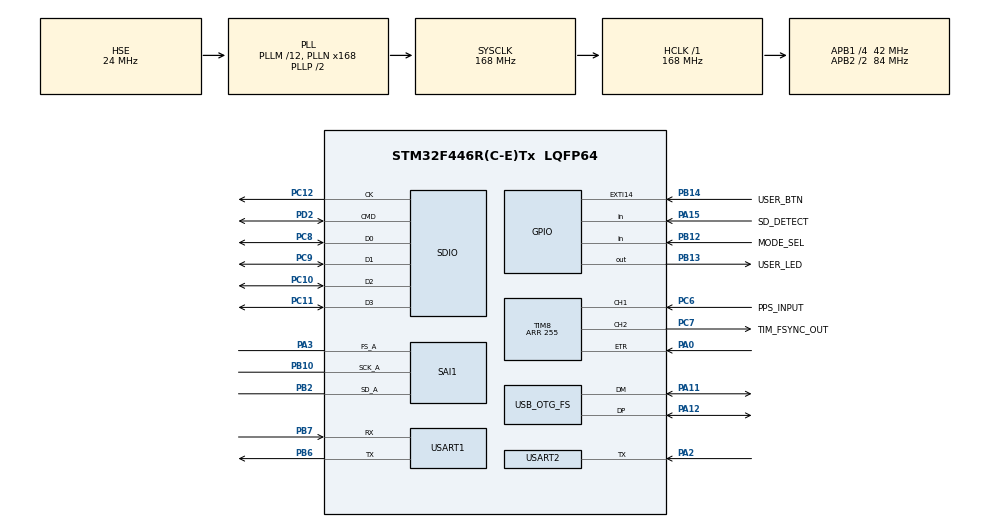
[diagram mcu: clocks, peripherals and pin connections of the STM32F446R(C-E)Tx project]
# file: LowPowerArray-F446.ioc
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Dma.Request0=SDIO
Dma.Request1=SAI1_A
Dma.Request2=USART2_RX
Dma.SAI1_A.1.Direction=DMA_PERIPH_TO_MEMORY
Dma.SAI1_A.1.FIFOMode=DMA_FIFOMODE_ENABLE
Dma.SAI1_A.1.FIFOThreshold=DMA_FIFO_THRESHOLD_FULL
Dma.SAI1_A.1.Instance=DMA2_Stream1
Dma.SAI1_A.1.MemBurst=DMA_MBURST_SINGLE
Dma.SAI1_A.1.MemDataAlignment=DMA_MDATAALIGN_WORD
Dma.SAI1_A.1.MemInc=DMA_MINC_ENABLE
Dma.SAI1_A.1.Mode=DMA_NORMAL
Dma.SAI1_A.1.PeriphBurst=DMA_PBURST_SINGLE
Dma.SAI1_A.1.PeriphDataAlignment=DMA_PDATAALIGN_WORD
Dma.SAI1_A.1.PeriphInc=DMA_PINC_DISABLE
Dma.SAI1_A.1.Priority=DMA_PRIORITY_VERY_HIGH
Dma.SDIO.0.Direction=DMA_PERIPH_TO_MEMORY
Dma.SDIO.0.FIFOMode=DMA_FIFOMODE_ENABLE
Dma.SDIO.0.FIFOThreshold=DMA_FIFO_THRESHOLD_FULL
Dma.SDIO.0.Instance=DMA2_Stream3
Dma.SDIO.0.MemBurst=DMA_MBURST_SINGLE
Dma.SDIO.0.MemDataAlignment=DMA_MDATAALIGN_WORD
Dma.SDIO.0.MemInc=DMA_MINC_ENABLE
Dma.SDIO.0.Mode=DMA_PFCTRL
Dma.SDIO.0.PeriphBurst=DMA_PBURST_INC4
Dma.SDIO.0.PeriphDataAlignment=DMA_PDATAALIGN_WORD
Dma.SDIO.0.PeriphInc=DMA_PINC_DISABLE
Dma.SDIO.0.Priority=DMA_PRIORITY_VERY_HIGH
Dma.USART2_RX.2.Direction=DMA_PERIPH_TO_MEMORY
Dma.USART2_RX.2.FIFOMode=DMA_FIFOMODE_DISABLE
Dma.USART2_RX.2.Instance=DMA1_Stream5
Dma.USART2_RX.2.MemDataAlignment=DMA_MDATAALIGN_BYTE
Dma.USART2_RX.2.MemInc=DMA_MINC_ENABLE
Dma.USART2_RX.2.Mode=DMA_NORMAL
Dma.USART2_RX.2.PeriphDataAlignment=DMA_PDATAALIGN_BYTE
Dma.USART2_RX.2.PeriphInc=DMA_PINC_DISABLE
Dma.USART2_RX.2.Priority=DMA_PRIORITY_LOW
FATFS.BSP.number=1
FATFS.USE_DMA_CODE_SD=1
FATFS._FS_EXFAT=1
FATFS._MAX_SS=4096
FATFS._USE_EXPAND=1
FATFS._USE_FIND=1
FATFS._USE_LFN=2
FATFS0.BSP.STBoard=false
FATFS0.BSP.api=Unknown
FATFS0.BSP.instance=PA15
FATFS0.BSP.ip=GPIO
FATFS0.BSP.mode=Input
FATFS0.BSP.name=Detect_SDIO
FATFS0.BSP.solution=PA15
Mcu.Family=STM32F4
Mcu.Name=STM32F446R(C-E)Tx
Mcu.Package=LQFP64
NVIC.DMA1_Stream5_IRQn=true\:3\:0\:true\:false\:true\:false\:true\:true
NVIC.DMA2_Stream1_IRQn=true\:0\:0\:true\:false\:true\:false\:true\:true
NVIC.DMA2_Stream3_IRQn=true\:1\:0\:true\:false\:true\:false\:true\:true
NVIC.EXTI15_10_IRQn=true\:7\:0\:true\:false\:true\:true\:true\:true
NVIC.OTG_FS_IRQn=true\:2\:0\:true\:false\:true\:false\:true\:true
NVIC.PriorityGroup=NVIC_PRIORITYGROUP_4
NVIC.SAI1_IRQn=true\:0\:0\:false\:false\:true\:true\:true\:true
NVIC.SDIO_IRQn=true\:1\:0\:true\:false\:true\:true\:true\:true
NVIC.USART2_IRQn=true\:4\:0\:true\:false\:true\:true\:true\:true
PA0-WKUP.Signal=S_TIM8_ETR
PA11.Mode=Device_Only
PA11.Signal=USB_OTG_FS_DM
PA12.Mode=Device_Only
PA12.Signal=USB_OTG_FS_DP
PA13.Mode=Serial_Wire
PA13.Signal=SYS_JTMS-SWDIO
PA14.Mode=Serial_Wire
PA14.Signal=SYS_JTCK-SWCLK
PA15.GPIO_Label=SD_DETECT
PA15.GPIO_PuPd=GPIO_PULLUP
PA15.Signal=GPIO_Input
PA2.Mode=Half_duplex(single_wire_mode)
PA2.Signal=USART2_TX
PA3.Mode=SAI_A_AsyncSlave
PA3.Signal=SAI1_FS_A
PB10.Mode=SAI_A_AsyncSlave
PB10.Signal=SAI1_SCK_A
PB12.GPIO_Label=MODE_SEL
PB12.GPIO_PuPd=GPIO_PULLUP
PB12.Signal=GPIO_Input
PB13.GPIO_Label=USER_LED
PB13.GPIO_ModeDefaultOutputPP=GPIO_MODE_OUTPUT_OD
PB13.GPIO_PuPd=GPIO_NOPULL
PB13.PinState=GPIO_PIN_RESET
PB13.Signal=GPIO_Output
PB14.GPIO_Label=USER_BTN
PB14.GPIO_PuPd=GPIO_PULLDOWN
PB14.Signal=GPXTI14
PB2.GPIO_PuPd=GPIO_NOPULL
PB2.Mode=SAI_A_AsyncSlave
PB2.Signal=SAI1_SD_A
PB6.Mode=Asynchronous
PB6.Signal=USART1_TX
PB7.Mode=Asynchronous
PB7.Signal=USART1_RX
PC10.GPIO_PuPd=GPIO_PULLUP
PC10.Mode=SD_4_bits_Wide_bus
PC10.Signal=SDIO_D2
PC11.GPIO_PuPd=GPIO_PULLUP
PC11.Mode=SD_4_bits_Wide_bus
PC11.Signal=SDIO_D3
PC12.Mode=SD_4_bits_Wide_bus
PC12.Signal=SDIO_CK
PC6.GPIO_Label=PPS_INPUT
PC6.GPIO_ModeDefaultEXTI=GPIO_MODE_IT_FALLING
PC6.Signal=S_TIM8_CH1
PC7.GPIO_Label=TIM_FSYNC_OUT
PC7.GPIO_Speed=GPIO_SPEED_FREQ_VERY_HIGH
PC7.Signal=S_TIM8_CH2
PC8.GPIO_PuPd=GPIO_PULLUP
PC8.Mode=SD_4_bits_Wide_bus
PC8.Signal=SDIO_D0
PC9.GPIO_PuPd=GPIO_PULLUP
PC9.Mode=SD_4_bits_Wide_bus
PC9.Signal=SDIO_D1
PD2.Mode=SD_4_bits_Wide_bus
PD2.Signal=SDIO_CMD
PH0-OSC_IN.Mode=HSE-External-Clock-Source
PH0-OSC_IN.Signal=RCC_OSC_IN
PH1-OSC_OUT.Mode=HSE-External-Clock-Source
PH1-OSC_OUT.Signal=RCC_OSC_OUT
ProjectManager.HeapSize=0x200
ProjectManager.StackSize=0x400
ProjectManager.TargetToolchain=STM32CubeIDE
RCC.AHBFreq_Value=168000000
RCC.APB1CLKDivider=RCC_HCLK_DIV4
RCC.APB1Freq_Value=42000000
RCC.APB1TimFreq_Value=84000000
RCC.APB2CLKDivider=RCC_HCLK_DIV2
RCC.APB2Freq_Value=84000000
RCC.APB2TimFreq_Value=168000000
RCC.CortexFreq_Value=168000000
RCC.DATA_CACHE_ENABLE=1
RCC.HCLKFreq_Value=168000000
RCC.HSE_VALUE=24000000
RCC.PLLI2SM=12
RCC.PLLI2SN=50
RCC.PLLM=12
RCC.PLLN=168
RCC.PLLQ=7
RCC.PLLSAIM=12
RCC.PLLSAIN=50
RCC.PLLSourceVirtual=RCC_PLLSOURCE_HSE
RCC.SAIACLockSelection=RCC_SAI1CLKSOURCE_PLLR
RCC.SYSCLKFreq_VALUE=168000000
RCC.SYSCLKSource=RCC_SYSCLKSOURCE_PLLCLK
RCC.USBFreq_Value=48000000
RCC.VCOOutputFreq_Value=336000000
SAI1.ActiveFrameLength-SAI_A_AsyncSlave=31
SAI1.ClockStrobing-SAI_A_AsyncSlave=SAI_CLOCKSTROBING_FALLINGEDGE
SAI1.CompandingMode-SAI_A_AsyncSlave=SAI_NOCOMPANDING
SAI1.DataSize-SAI_A_AsyncSlave=SAI_DATASIZE_32
SAI1.FIFOThreshold-SAI_A_AsyncSlave=SAI_FIFOTHRESHOLD_FULL
SAI1.FSDefinition-SAI_A_AsyncSlave=SAI_FS_STARTFRAME
SAI1.FSOffset-SAI_A_AsyncSlave=SAI_FS_FIRSTBIT
SAI1.FSPolarity-SAI_A_AsyncSlave=SAI_FS_ACTIVE_HIGH
SAI1.FirstBitOffset-SAI_A_AsyncSlave=0
SAI1.FrameLength-SAI_A_AsyncSlave=256
SAI1.Instance-SAI_A_AsyncSlave=SAI$Index_Block_A
SAI1.SlotActive-SAI_A_AsyncSlave=0x0000FFFF
SAI1.SlotNumber-SAI_A_AsyncSlave=8
SAI1.SlotSize-SAI_A_AsyncSlave=SAI_SLOTSIZE_32B
SAI1.TriState-SAI_A_AsyncSlave=SAI_OUTPUT_NOTRELEASED
SAI1.VirtualMode-SAI_A_AsyncSlave=VM_SLAVE
SAI1.VirtualSlotActive-SAI_A_AsyncSlave=SAI_SLOTACTIVE_ALL
SH.S_TIM8_CH1.0=TIM8_CH1,TriggerSource_TI1ED
SH.S_TIM8_CH2.0=TIM8_CH2,PWM Generation2 CH2
SH.S_TIM8_ETR.0=TIM8_ETR,ClockSourceETR_Mode2
TIM8.AutoReloadPreload=TIM_AUTORELOAD_PRELOAD_ENABLE
TIM8.Channel-PWM\ Generation2\ CH2=TIM_CHANNEL_2
TIM8.OC2Preload_PWM=DISABLE
TIM8.OCFastMode_PWM-PWM\ Generation2\ CH2=TIM_OCFAST_DISABLE
TIM8.OCIdleState_2=TIM_OCIDLESTATE_RESET
TIM8.Period=255
TIM8.Pulse-PWM\ Generation2\ CH2=31
USART1.VirtualMode=VM_ASYNC
USART2.BaudRate=38400
USART2.Mode=MODE_RX
USART2.VirtualMode=VM_ASYNC
USB_DEVICE.CLASS_NAME_FS=CDC
USB_DEVICE.VirtualMode-CDC_FS=Cdc
USB_DEVICE.VirtualModeFS=Cdc_FS
USB_OTG_FS.VirtualMode=Device_Only
VP_FATFS_VS_SDIO.Mode=SDIO
VP_TIM8_VS_ControllerModeTrigger.Mode=Trigger Mode
VP_USB_DEVICE_VS_USB_DEVICE_CDC_FS.Mode=CDC_FS
board=custom

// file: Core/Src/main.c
/* USER CODE BEGIN Header */
/**
 ******************************************************************************
 * @file           : main.c
 * @brief          : Main program body
 ******************************************************************************
 * @attention
 *
 * Copyright (c) 2023 STMicroelectronics.
 * All rights reserved.
 *
 * This software is licensed under terms that can be found in the LICENSE file
 * in the root directory of this software component.
 * If no LICENSE file comes with this software, it is provided AS-IS.
 *
 ******************************************************************************
 */
/* USER CODE END Header */
#include "main.h"
#include "fatfs.h"
#include "usb_device.h"

/* USER CODE BEGIN Includes */

#include <stdio.h>
#include <string.h>

#include "usbd_cdc_if.h"

#include "user_app.h"

/* USER CODE END Includes */

SAI_HandleTypeDef hsai_BlockA1;
DMA_HandleTypeDef hdma_sai1_a;

SD_HandleTypeDef hsd;
DMA_HandleTypeDef hdma_sdio;

TIM_HandleTypeDef htim8;

UART_HandleTypeDef huart1;
UART_HandleTypeDef huart2;
DMA_HandleTypeDef hdma_usart2_rx;

void SystemClock_Config(void);
static void MX_GPIO_Init(void);
static void MX_DMA_Init(void);
static void MX_USART1_UART_Init(void);
static void MX_USART2_UART_Init(void);
static void MX_TIM8_Init(void);
static void MX_SDIO_SD_Init(void);
static void MX_SAI1_Init(void);
/* USER CODE BEGIN PFP */
static void PPS_Interrupt_Init(void);

#ifdef __GNUC__
#define PUTCHAR_PROTOTYPE int __io_putchar(int ch)
#else
#define PUTCHAR_PROTOTYPE int fputc(int ch, FILE *f)
#endif

PUTCHAR_PROTOTYPE
{
	HAL_UART_Transmit(&huart1, (uint8_t *)&ch, 1, HAL_MAX_DELAY);
	CDC_Transmit_FS((uint8_t *)&ch, 1);
	return ch;
}

/* USER CODE END PFP */

int main(void)
{

  /* MCU Configuration--------------------------------------------------------*/

  /* Reset of all peripherals, Initializes the Flash interface and the Systick. */
  HAL_Init();

  /* Configure the system clock */
  SystemClock_Config();

  /* Initialize all configured peripherals */
  MX_GPIO_Init();
  MX_DMA_Init();
  MX_USART1_UART_Init();
  MX_USART2_UART_Init();
  MX_TIM8_Init();
  MX_SDIO_SD_Init();
  MX_FATFS_Init();
  MX_SAI1_Init();
  MX_USB_DEVICE_Init();
  /* USER CODE BEGIN 2 */
  PPS_Interrupt_Init();

  user_app_init();

  /* USER CODE END 2 */

  /* Infinite loop */
  /* USER CODE BEGIN WHILE */

  user_app_loop();

    /* USER CODE END WHILE */

}

void SystemClock_Config(void)
{
  RCC_OscInitTypeDef RCC_OscInitStruct = {0};
  RCC_ClkInitTypeDef RCC_ClkInitStruct = {0};

  /** Configure the main internal regulator output voltage
  */
  __HAL_RCC_PWR_CLK_ENABLE();
  __HAL_PWR_VOLTAGESCALING_CONFIG(PWR_REGULATOR_VOLTAGE_SCALE1);

  /** Initializes the RCC Oscillators according to the specified parameters
  * in the RCC_OscInitTypeDef structure.
  */
  RCC_OscInitStruct.OscillatorType = RCC_OSCILLATORTYPE_HSE;
  RCC_OscInitStruct.HSEState = RCC_HSE_BYPASS;
  RCC_OscInitStruct.PLL.PLLState = RCC_PLL_ON;
  RCC_OscInitStruct.PLL.PLLSource = RCC_PLLSOURCE_HSE;
  RCC_OscInitStruct.PLL.PLLM = 12;
  RCC_OscInitStruct.PLL.PLLN = 168;
  RCC_OscInitStruct.PLL.PLLP = RCC_PLLP_DIV2;
  RCC_OscInitStruct.PLL.PLLQ = 7;
  RCC_OscInitStruct.PLL.PLLR = 2;
  if (HAL_RCC_OscConfig(&RCC_OscInitStruct) != HAL_OK)
  {
    Error_Handler();
  }

  /** Initializes the CPU, AHB and APB buses clocks
  */
  RCC_ClkInitStruct.ClockType = RCC_CLOCKTYPE_HCLK|RCC_CLOCKTYPE_SYSCLK
                              |RCC_CLOCKTYPE_PCLK1|RCC_CLOCKTYPE_PCLK2;
  RCC_ClkInitStruct.SYSCLKSource = RCC_SYSCLKSOURCE_PLLCLK;
  RCC_ClkInitStruct.AHBCLKDivider = RCC_SYSCLK_DIV1;
  RCC_ClkInitStruct.APB1CLKDivider = RCC_HCLK_DIV4;
  RCC_ClkInitStruct.APB2CLKDivider = RCC_HCLK_DIV2;

  if (HAL_RCC_ClockConfig(&RCC_ClkInitStruct, FLASH_LATENCY_5) != HAL_OK)
  {
    Error_Handler();
  }
}

static void MX_SAI1_Init(void)
{

  hsai_BlockA1.Instance = SAI1_Block_A;
  hsai_BlockA1.Init.Protocol = SAI_FREE_PROTOCOL;
  hsai_BlockA1.Init.AudioMode = SAI_MODESLAVE_RX;
  hsai_BlockA1.Init.DataSize = SAI_DATASIZE_32;
  hsai_BlockA1.Init.FirstBit = SAI_FIRSTBIT_MSB;
  hsai_BlockA1.Init.ClockStrobing = SAI_CLOCKSTROBING_FALLINGEDGE;
  hsai_BlockA1.Init.Synchro = SAI_ASYNCHRONOUS;
  hsai_BlockA1.Init.OutputDrive = SAI_OUTPUTDRIVE_DISABLE;
  hsai_BlockA1.Init.FIFOThreshold = SAI_FIFOTHRESHOLD_FULL;
  hsai_BlockA1.Init.SynchroExt = SAI_SYNCEXT_DISABLE;
  hsai_BlockA1.Init.MonoStereoMode = SAI_STEREOMODE;
  hsai_BlockA1.Init.CompandingMode = SAI_NOCOMPANDING;
  hsai_BlockA1.Init.TriState = SAI_OUTPUT_NOTRELEASED;
  hsai_BlockA1.FrameInit.FrameLength = 256;
  hsai_BlockA1.FrameInit.ActiveFrameLength = 31;
  hsai_BlockA1.FrameInit.FSDefinition = SAI_FS_STARTFRAME;
  hsai_BlockA1.FrameInit.FSPolarity = SAI_FS_ACTIVE_HIGH;
  hsai_BlockA1.FrameInit.FSOffset = SAI_FS_FIRSTBIT;
  hsai_BlockA1.SlotInit.FirstBitOffset = 0;
  hsai_BlockA1.SlotInit.SlotSize = SAI_SLOTSIZE_32B;
  hsai_BlockA1.SlotInit.SlotNumber = 8;
  hsai_BlockA1.SlotInit.SlotActive = 0x0000FFFF;
  if (HAL_SAI_Init(&hsai_BlockA1) != HAL_OK)
  {
    Error_Handler();
  }

}

static void MX_SDIO_SD_Init(void)
{

  hsd.Instance = SDIO;
  hsd.Init.ClockEdge = SDIO_CLOCK_EDGE_RISING;
  hsd.Init.ClockBypass = SDIO_CLOCK_BYPASS_DISABLE;
  hsd.Init.ClockPowerSave = SDIO_CLOCK_POWER_SAVE_DISABLE;
  hsd.Init.BusWide = SDIO_BUS_WIDE_1B;
  hsd.Init.HardwareFlowControl = SDIO_HARDWARE_FLOW_CONTROL_DISABLE;
  hsd.Init.ClockDiv = 0;

}

static void MX_TIM8_Init(void)
{

  TIM_ClockConfigTypeDef sClockSourceConfig = {0};
  TIM_SlaveConfigTypeDef sSlaveConfig = {0};
  TIM_MasterConfigTypeDef sMasterConfig = {0};
  TIM_OC_InitTypeDef sConfigOC = {0};
  TIM_BreakDeadTimeConfigTypeDef sBreakDeadTimeConfig = {0};

  htim8.Instance = TIM8;
  htim8.Init.Prescaler = 0;
  htim8.Init.CounterMode = TIM_COUNTERMODE_UP;
  htim8.Init.Period = 255;
  htim8.Init.ClockDivision = TIM_CLOCKDIVISION_DIV1;
  htim8.Init.RepetitionCounter = 0;
  htim8.Init.AutoReloadPreload = TIM_AUTORELOAD_PRELOAD_ENABLE;
  if (HAL_TIM_Base_Init(&htim8) != HAL_OK)
  {
    Error_Handler();
  }
  sClockSourceConfig.ClockSource = TIM_CLOCKSOURCE_ETRMODE2;
  sClockSourceConfig.ClockPolarity = TIM_CLOCKPOLARITY_NONINVERTED;
  sClockSourceConfig.ClockPrescaler = TIM_CLOCKPRESCALER_DIV1;
  sClockSourceConfig.ClockFilter = 0;
  if (HAL_TIM_ConfigClockSource(&htim8, &sClockSourceConfig) != HAL_OK)
  {
    Error_Handler();
  }
  if (HAL_TIM_PWM_Init(&htim8) != HAL_OK)
  {
    Error_Handler();
  }
  sSlaveConfig.SlaveMode = TIM_SLAVEMODE_TRIGGER;
  sSlaveConfig.InputTrigger = TIM_TS_TI1F_ED;
  sSlaveConfig.TriggerFilter = 0;
  if (HAL_TIM_SlaveConfigSynchro(&htim8, &sSlaveConfig) != HAL_OK)
  {
    Error_Handler();
  }
  sMasterConfig.MasterOutputTrigger = TIM_TRGO_RESET;
  sMasterConfig.MasterSlaveMode = TIM_MASTERSLAVEMODE_DISABLE;
  if (HAL_TIMEx_MasterConfigSynchronization(&htim8, &sMasterConfig) != HAL_OK)
  {
    Error_Handler();
  }
  sConfigOC.OCMode = TIM_OCMODE_PWM1;
  sConfigOC.Pulse = 31;
  sConfigOC.OCPolarity = TIM_OCPOLARITY_HIGH;
  sConfigOC.OCNPolarity = TIM_OCNPOLARITY_HIGH;
  sConfigOC.OCFastMode = TIM_OCFAST_DISABLE;
  sConfigOC.OCIdleState = TIM_OCIDLESTATE_RESET;
  sConfigOC.OCNIdleState = TIM_OCNIDLESTATE_RESET;
  if (HAL_TIM_PWM_ConfigChannel(&htim8, &sConfigOC, TIM_CHANNEL_2) != HAL_OK)
  {
    Error_Handler();
  }
  __HAL_TIM_DISABLE_OCxPRELOAD(&htim8, TIM_CHANNEL_2);
  sBreakDeadTimeConfig.OffStateRunMode = TIM_OSSR_DISABLE;
  sBreakDeadTimeConfig.OffStateIDLEMode = TIM_OSSI_DISABLE;
  sBreakDeadTimeConfig.LockLevel = TIM_LOCKLEVEL_OFF;
  sBreakDeadTimeConfig.DeadTime = 0;
  sBreakDeadTimeConfig.BreakState = TIM_BREAK_DISABLE;
  sBreakDeadTimeConfig.BreakPolarity = TIM_BREAKPOLARITY_HIGH;
  sBreakDeadTimeConfig.AutomaticOutput = TIM_AUTOMATICOUTPUT_DISABLE;
  if (HAL_TIMEx_ConfigBreakDeadTime(&htim8, &sBreakDeadTimeConfig) != HAL_OK)
  {
    Error_Handler();
  }
  HAL_TIM_MspPostInit(&htim8);

}

static void MX_USART1_UART_Init(void)
{

  huart1.Instance = USART1;
  huart1.Init.BaudRate = 115200;
  huart1.Init.WordLength = UART_WORDLENGTH_8B;
  huart1.Init.StopBits = UART_STOPBITS_1;
  huart1.Init.Parity = UART_PARITY_NONE;
  huart1.Init.Mode = UART_MODE_TX_RX;
  huart1.Init.HwFlowCtl = UART_HWCONTROL_NONE;
  huart1.Init.OverSampling = UART_OVERSAMPLING_16;
  if (HAL_UART_Init(&huart1) != HAL_OK)
  {
    Error_Handler();
  }

}

static void MX_USART2_UART_Init(void)
{

  huart2.Instance = USART2;
  huart2.Init.BaudRate = 38400;
  huart2.Init.WordLength = UART_WORDLENGTH_8B;
  huart2.Init.StopBits = UART_STOPBITS_1;
  huart2.Init.Parity = UART_PARITY_NONE;
  huart2.Init.Mode = UART_MODE_RX;
  huart2.Init.HwFlowCtl = UART_HWCONTROL_NONE;
  huart2.Init.OverSampling = UART_OVERSAMPLING_16;
  if (HAL_HalfDuplex_Init(&huart2) != HAL_OK)
  {
    Error_Handler();
  }

}

static void MX_DMA_Init(void)
{

  /* DMA controller clock enable */
  __HAL_RCC_DMA2_CLK_ENABLE();
  __HAL_RCC_DMA1_CLK_ENABLE();

  /* DMA interrupt init */
  /* DMA1_Stream5_IRQn interrupt configuration */
  HAL_NVIC_SetPriority(DMA1_Stream5_IRQn, 3, 0);
  HAL_NVIC_EnableIRQ(DMA1_Stream5_IRQn);
  /* DMA2_Stream1_IRQn interrupt configuration */
  HAL_NVIC_SetPriority(DMA2_Stream1_IRQn, 0, 0);
  HAL_NVIC_EnableIRQ(DMA2_Stream1_IRQn);
  /* DMA2_Stream3_IRQn interrupt configuration */
  HAL_NVIC_SetPriority(DMA2_Stream3_IRQn, 1, 0);
  HAL_NVIC_EnableIRQ(DMA2_Stream3_IRQn);

}

static void MX_GPIO_Init(void)
{
  GPIO_InitTypeDef GPIO_InitStruct = {0};

  /* GPIO Ports Clock Enable */
  __HAL_RCC_GPIOH_CLK_ENABLE();
  __HAL_RCC_GPIOA_CLK_ENABLE();
  __HAL_RCC_GPIOB_CLK_ENABLE();
  __HAL_RCC_GPIOC_CLK_ENABLE();
  __HAL_RCC_GPIOD_CLK_ENABLE();

  /*Configure GPIO pin Output Level */
  HAL_GPIO_WritePin(USER_LED_GPIO_Port, USER_LED_Pin, GPIO_PIN_RESET);

  /*Configure GPIO pin : MODE_SEL_Pin */
  GPIO_InitStruct.Pin = MODE_SEL_Pin;
  GPIO_InitStruct.Mode = GPIO_MODE_INPUT;
  GPIO_InitStruct.Pull = GPIO_PULLUP;
  HAL_GPIO_Init(MODE_SEL_GPIO_Port, &GPIO_InitStruct);

  /*Configure GPIO pin : USER_LED_Pin */
  GPIO_InitStruct.Pin = USER_LED_Pin;
  GPIO_InitStruct.Mode = GPIO_MODE_OUTPUT_OD;
  GPIO_InitStruct.Pull = GPIO_NOPULL;
  GPIO_InitStruct.Speed = GPIO_SPEED_FREQ_LOW;
  HAL_GPIO_Init(USER_LED_GPIO_Port, &GPIO_InitStruct);

  /*Configure GPIO pin : USER_BTN_Pin */
  GPIO_InitStruct.Pin = USER_BTN_Pin;
  GPIO_InitStruct.Mode = GPIO_MODE_IT_RISING;
  GPIO_InitStruct.Pull = GPIO_PULLDOWN;
  HAL_GPIO_Init(USER_BTN_GPIO_Port, &GPIO_InitStruct);

  /*Configure GPIO pin : SD_DETECT_Pin */
  GPIO_InitStruct.Pin = SD_DETECT_Pin;
  GPIO_InitStruct.Mode = GPIO_MODE_INPUT;
  GPIO_InitStruct.Pull = GPIO_PULLUP;
  HAL_GPIO_Init(SD_DETECT_GPIO_Port, &GPIO_InitStruct);

  /* EXTI interrupt init*/
  HAL_NVIC_SetPriority(EXTI15_10_IRQn, 7, 0);
  HAL_NVIC_EnableIRQ(EXTI15_10_IRQn);

}

/* USER CODE BEGIN 4 */

/*
 * PPS input pin is shared by TIM8 and GPIO EXTI
 * This function sets up the GPIO pin as interrupt
 */
static void PPS_Interrupt_Init(void)
{
	GPIO_InitTypeDef GPIO_InitStruct = {0};
	GPIO_InitStruct.Pin = PPS_INPUT_Pin;
	GPIO_InitStruct.Mode = GPIO_MODE_IT_FALLING;
	GPIO_InitStruct.Pull = GPIO_NOPULL;
	HAL_GPIO_Init(PPS_INPUT_GPIO_Port, &GPIO_InitStruct);

	// Enable the interrupt
	HAL_NVIC_SetPriority(EXTI9_5_IRQn, 6, 0);
	HAL_NVIC_EnableIRQ(EXTI9_5_IRQn);
}

/* USER CODE END 4 */

void Error_Handler(void)
{
  /* USER CODE BEGIN Error_Handler_Debug */
	printf("Error_Handler\n");
	/* User can add his own implementation to report the HAL error return state */
	__disable_irq();
	while (1)
	{
	}
  /* USER CODE END Error_Handler_Debug */
}
